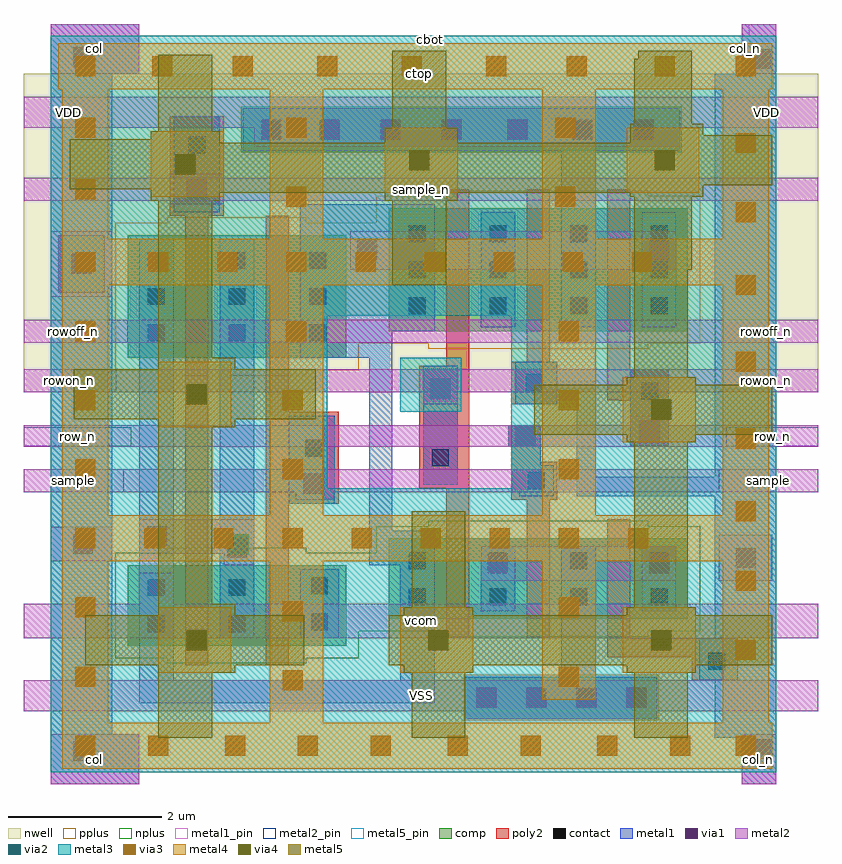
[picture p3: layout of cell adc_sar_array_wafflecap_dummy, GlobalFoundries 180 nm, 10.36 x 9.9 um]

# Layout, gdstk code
import gdstk
lib = gdstk.Library(unit=1e-6, precision=1e-09)
def R(c, l, rs):  # rectangles x0, y0, x1, y1
    for r in rs: c.add(gdstk.rectangle(r[:2], r[2:], *l))
def A(c, l, x, y, w, h, nx, ny, dx, dy):  # array of equal rectangles
    R(c, l, [(x+i*dx, y+j*dy, x+i*dx+w, y+j*dy+h) for i in range(nx) for j in range(ny)])
nwell = (21, 0)
comp = (22, 0)
poly2 = (30, 0)
pplus = (31, 0)
nplus = (32, 0)
contact = (33, 0)
metal1 = (34, 0)
metal1_pin = (34, 10)
via1 = (35, 0)
metal2 = (36, 0)
metal2_pin = (36, 10)
via2 = (38, 0)
via3 = (40, 0)
via4 = (41, 0)
metal3 = (42, 0)
metal4 = (46, 0)
metal5 = (81, 0)
metal5_pin = (81, 10)

adc_sar_array_wafflecap_ = lib.new_cell('adc_sar_array_wafflecap_8')
R(adc_sar_array_wafflecap_, nwell, [(-5,-0.95,5.35,3.2)])
R(adc_sar_array_wafflecap_, comp, [(0.75,-5.2,3.25,-4.65), (-3.65,-4.25,-0.8,-3.2), (-0.25,-3.9,3.65,-2.85), (-3.65,-0.5,-0.8,1.1), (-0.25,-0.15,3.65,1.45), (-2.15,2.2,3.55,2.75)])
R(adc_sar_array_wafflecap_, poly2, [(3.7,-4.7,4.3,-4.4), (-2.9,-4.5,-2.6,1.35), (-1.85,-4.5,-1.55,-2.4), (2.6,-4.4,4.3,-4.15), (0.5,-4.15,0.8,-2.2), (1.55,-4.15,1.85,-2.35), (2.6,-4.15,2.9,-2.6), (-1.85,-2.4,-0.9,-1.2), (1.35,-2.35,1.95,-1.85), (0.15,-2.2,0.8,-0.6), (1.35,-1.85,1.73,-1.66), (1.31,-1.66,1.73,-1.38), (2.9,-1.65,3.4,-1.055), (-1.85,-1.2,-1.55,1.35), (1.35,-1.1,1.95,-0.55), (2.755,-1.055,3.4,-1.05), (2.6,-1.05,3.4,-0.65), (2.6,-0.65,2.9,1.7), (0.5,-0.6,0.8,1.7), (1.55,-0.55,1.85,1.7), (-4.55,0.35,-3.95,1.1), (-3.1,1.35,-2.4,2.65)])
R(adc_sar_array_wafflecap_, pplus, [(0.73,-5.22,3.27,-4.63), (-3.13,-0.73,-1.32,-0.66), (-3.81,-0.66,-0.64,-0.31), (0.27,-0.38,3.13,-0.31), (-3.81,-0.31,3.81,1.26), (-3.13,1.26,-1.32,1.33), (-0.41,1.26,3.81,1.61), (0.27,1.61,3.13,1.68)])
R(adc_sar_array_wafflecap_, nplus, [(-3.13,-4.48,-1.32,-4.41), (-3.81,-4.41,-0.64,-4.06), (0.27,-4.13,3.13,-4.06), (-3.81,-4.06,3.81,-3.04), (-3.13,-3.04,-1.32,-2.97), (-0.41,-3.04,3.81,-2.69), (0.27,-2.69,3.13,-2.62), (-2.17,2.18,3.57,2.77)])
A(adc_sar_array_wafflecap_, contact, 0.915, -5.035, 0.22, 0.22, 4, 1, 0.65, 0)
A(adc_sar_array_wafflecap_, contact, 0.015, -3.72, 0.22, 0.22, 4, 2, 1.05, 0.47)
A(adc_sar_array_wafflecap_, contact, -3.385, -0.28, 0.22, 0.22, 3, 3, 1.05, 0.47)
A(adc_sar_array_wafflecap_, contact, 0.015, 0.07, 0.22, 0.22, 4, 3, 1.05, 0.47)
A(adc_sar_array_wafflecap_, contact, -1.135, 2.365, 0.22, 0.22, 3, 1, 0.8, 0)
R(adc_sar_array_wafflecap_, contact, [(3.915,-4.56,4.135,-4.34), (-3.385,-4.07,-3.165,-3.85), (-2.335,-4.07,-2.115,-3.85), (-1.26,-4.045,-1.04,-3.825), (-3.385,-3.6,-3.165,-3.38), (-2.335,-3.6,-2.115,-3.38), (-1.26,-3.575,-1.04,-3.355), (1.565,-2.21,1.785,-1.99), (0.315,-1.91,0.535,-1.69), (-1.335,-1.785,-1.115,-1.565), (3.04,-1.035,3.26,-0.815), (0.315,-1.01,0.535,-0.79), (1.54,-0.935,1.76,-0.715), (-2.86,2.165,-2.64,2.385), (-1.885,2.365,-1.665,2.585), (1.315,2.365,1.535,2.585), (2.165,2.365,2.385,2.585), (2.965,2.365,3.185,2.585)])
R(adc_sar_array_wafflecap_, metal1, [(-4.65,-6.05,-3.5,-5.4), (4.35,-6.05,4.8,-5.45), (4,-5.45,4.8,-4.7), (-4.65,-5.4,-3.85,3.2), (0.75,-5.2,3.25,-4.65), (-3.5,-5,0.35,-4.7), (-3.5,-4.7,-3.05,-3.3), (-0.1,-4.7,0.35,-3.2), (3.8,-4.7,4.8,-4.15), (2,-4.65,2.45,-2.95), (-2.45,-4.15,-2,1.05), (-1.4,-4.15,-0.9,-3.25), (4,-4.15,4.8,-2.3), (0.95,-3.8,1.4,-2.95), (3.05,-3.8,3.5,-2.95), (-0.5,-3.2,0.35,-2.75), (-3.5,-3.05,-3.05,1.05), (-0.5,-2.75,-0.2,-0.5), (-1.55,-2.4,-0.95,-1.25), (1.45,-2.3,1.9,-2.25), (2.2,-2.3,4.8,-2.05), (1.35,-2.25,1.9,-1.9), (0.2,-2.15,0.65,-0.6), (2.2,-2.05,2.45,-1.05), (4,-2.05,4.8,3.2), (1.35,-1.9,1.73,-1.66), (1.31,-1.66,1.73,-1.38), (2.9,-1.65,3.4,-0.65), (1.4,-1.1,1.95,-1.05), (1.4,-1.05,2.45,-0.8), (1.4,-0.8,1.95,-0.55), (-1.4,-0.5,-0.2,-0.15), (-1.4,-0.15,0.35,1.5), (0.95,-0.1,1.4,1.4), (2,-0.1,2.45,2.2), (3.05,-0.1,3.5,1.4), (-3.05,1.4,-2.45,2.65), (-2.15,2.2,3.55,2.75), (-4.65,3.2,-3.5,3.85), (4.35,3.2,4.8,3.85)])
R(adc_sar_array_wafflecap_, metal1_pin, [(4.35,-6.05,4.8,-5.4), (4.35,3.2,4.45,3.85)])
A(adc_sar_array_wafflecap_, via1, 0.895, -5.055, 0.26, 0.26, 4, 1, 0.65, 0)
A(adc_sar_array_wafflecap_, via1, -1.155, 2.345, 0.26, 0.26, 3, 1, 0.8, 0)
R(adc_sar_array_wafflecap_, via1, [(-4.355,-5.755,-4.095,-5.495), (4.47,-5.73,4.73,-5.47), (1.045,-3.305,1.305,-3.045), (3.145,-3.305,3.405,-3.045), (4.27,-3.23,4.53,-2.97), (-2.35,-3.105,-2.09,-2.845), (-4.355,-3.055,-4.095,-2.795), (-3.4,-2.955,-3.14,-2.695), (-1.355,-2.27,-1.095,-2.01), (1.4,-1.65,1.66,-1.39), (3.02,-1.58,3.28,-1.32), (0.295,-1.03,0.555,-0.77), (-4.38,0.595,-4.12,0.855), (-0.655,0.77,-0.395,1.03), (3.145,0.77,3.405,1.03), (-2.88,1.57,-2.62,1.83), (-1.905,2.345,-1.645,2.605), (1.295,2.345,1.555,2.605), (2.145,2.345,2.405,2.605), (2.945,2.345,3.205,2.605), (4.47,3.27,4.73,3.53), (-4.355,3.295,-4.095,3.555)])
R(adc_sar_array_wafflecap_, metal2, [(-4.65,-6.05,-3.5,-5.4), (4.35,-6.05,4.8,-5.4), (0.75,-5.2,3.25,-5.1), (-5,-5.1,5.35,-4.7), (-5,-4.15,5.35,-3.7), (-3.5,-3.7,-3.05,-3.05), (0.95,-3.4,3.5,-2.95), (4.05,-3.4,4.75,-2.8), (-2.4,-3.2,-2,-3.05), (-4.65,-3.15,-3.85,-2.7), (-3.5,-3.05,-2,-2.6), (-1.46,-2.35,-0.965,-2.25), (-5,-2.25,5.35,-1.95), (-5.005,-1.66,5.345,-1.38), (2.9,-1.38,3.4,-1.25), (0.2,-1.1,0.65,-0.95), (-5,-0.95,5.35,-0.65), (-5,-0.3,5.35,0), (-4.65,0.3,-3.85,1.15), (-0.75,0.65,3.5,1.15), (-3.1,1.5,-2.4,1.55), (-5,1.55,5.35,1.85), (-3.1,1.85,-2.4,1.9), (-2,2.25,3.55,2.5), (-5,2.5,5.35,2.9), (-4.65,3.2,-3.5,3.85), (4.35,3.2,4.8,3.85)])
R(adc_sar_array_wafflecap_, metal2_pin, [(-4.65,-6.05,-3.5,-5.4), (-5,-5.1,5.35,-4.7), (-5,-4.15,5.35,-3.7), (-5,-2.25,-3.7,-1.95), (4.05,-2.25,5.35,-1.95), (-5,-1.65,-3.6,-1.4), (4.15,-1.65,5.345,-1.4), (-5,-0.95,-3.8,-0.65), (4,-0.95,5.35,-0.65), (-5,-0.3,-3.65,0), (4,-0.3,5.35,0), (-5,1.55,5.35,1.85), (-5,2.5,-3.85,2.9), (4,2.5,5.35,2.9), (-4.65,3.2,-3.5,3.85)])
R(adc_sar_array_wafflecap_, via2, [(-2.33,-3.055,-2.07,-2.795)])
A(adc_sar_array_wafflecap_, via3, -4.33, -5.68, 0.26, 0.26, 1, 3, 0, 0.9)
A(adc_sar_array_wafflecap_, via3, -2.38, -5.68, 0.26, 0.26, 3, 1, 0.95, 0)
A(adc_sar_array_wafflecap_, via3, 4.27, -4.43, 0.26, 0.26, 1, 3, 0, 0.9)
A(adc_sar_array_wafflecap_, via3, -4.33, -2.98, 0.26, 0.26, 9, 1, 0.9, 0)
A(adc_sar_array_wafflecap_, via3, -4.33, -2.08, 0.26, 0.26, 1, 4, 0, 0.9)
A(adc_sar_array_wafflecap_, via3, 1.97, -2.08, 0.26, 0.26, 1, 3, 0, 0.9)
A(adc_sar_array_wafflecap_, via3, 4.27, -1.68, 0.26, 0.26, 1, 3, 0, 1)
A(adc_sar_array_wafflecap_, via3, -3.38, 0.62, 0.26, 0.26, 8, 1, 0.9, 0)
A(adc_sar_array_wafflecap_, via3, -4.33, 1.57, 0.26, 0.26, 1, 3, 0, 0.8)
A(adc_sar_array_wafflecap_, via3, -2.28, 3.17, 0.26, 0.26, 4, 1, 1.1, 0)
R(adc_sar_array_wafflecap_, via3, [(-3.38,-5.68,-3.12,-5.42), (0.52,-5.68,0.78,-5.42), (1.47,-5.68,1.73,-5.42), (2.47,-5.68,2.73,-5.42), (3.42,-5.68,3.68,-5.42), (4.27,-5.68,4.53,-5.42), (-1.63,-4.83,-1.37,-4.57), (1.97,-4.78,2.23,-4.52), (-1.63,-3.93,-1.37,-3.67), (1.97,-3.88,2.23,-3.62), (-1.63,-2.08,-1.37,-1.82), (-1.63,-1.18,-1.37,-0.92), (-1.58,-0.28,-1.32,-0.02), (4.27,1.27,4.53,1.53), (-1.58,1.47,-1.32,1.73), (1.92,1.47,2.18,1.73), (4.27,2.17,4.53,2.43), (-1.58,2.37,-1.32,2.63), (1.92,2.37,2.18,2.63), (-3.33,3.17,-3.07,3.43), (2.07,3.17,2.33,3.43), (3.22,3.17,3.48,3.43), (4.27,3.17,4.53,3.43)])
R(adc_sar_array_wafflecap_, via4, [(-2.88,-4.305,-2.62,-4.045), (0.27,-4.305,0.53,-4.045), (3.17,-4.305,3.43,-4.045), (3.17,-1.305,3.43,-1.045), (-2.88,-1.105,-2.62,-0.845), (-3.03,1.895,-2.77,2.155), (0.02,1.945,0.28,2.205), (3.22,1.945,3.48,2.205)])
R(adc_sar_array_wafflecap_, metal3, [(-4.65,-5.9,4.8,-2.2), (-4.65,-2.2,-1.05,0.05), (1.35,-2.2,4.8,0.05), (-0.1,-1.2,0.7,-0.5), (-4.65,0.05,4.8,3.7)])
R(adc_sar_array_wafflecap_, metal4, [(-4.5,-5.85,4.75,-5.25), (-4.5,-5.25,-3.9,-3.15), (-1.8,-5.25,-1.1,-3.15), (4.1,-5.25,4.7,-3.15), (1.75,-4.95,2.45,-3.15), (-3.25,-4.6,-2.3,-3.75), (-0.1,-4.6,0.85,-3.75), (2.8,-4.6,3.75,-3.75), (-4.5,-3.15,4.7,-2.55), (-4.5,-2.55,-3.9,0.45), (-1.8,-2.55,-1.1,0.45), (1.75,-2.55,2.45,0.45), (4.1,-2.55,4.7,0.45), (2.8,-1.6,3.75,-0.75), (-3.25,-1.4,-2.3,-0.55), (-4.5,0.45,4.7,1.05), (-4.5,1.05,-3.9,3), (-1.8,1.05,-1.1,3), (1.75,1.05,2.45,3), (4.1,1.05,4.7,3), (-3.35,1.6,-2.4,2.45), (-0.3,1.65,0.65,2.5), (2.85,1.65,3.8,2.5), (-4.55,3,4.75,3.6)])
R(adc_sar_array_wafflecap_, metal5, [(-3.25,-5.45,-2.55,-4.6), (0.05,-5.45,0.75,-4.6), (2.95,-5.45,3.65,-4.6), (-3.25,-4.6,-2.25,-4.5), (-0.05,-4.6,0.85,-4.5), (2.85,-4.6,3.75,-4.5), (-4.2,-4.5,-1.35,-3.85), (-0.25,-4.5,4.75,-3.85), (-3.25,-3.85,-2.25,-3.7), (-0.05,-3.85,0.85,-3.75), (2.85,-3.85,3.75,-3.75), (0.05,-3.75,0.75,-2.5), (2.95,-3.75,3.65,-1.6), (-3.25,-3.7,-2.55,-1.4), (2.85,-1.6,3.75,-1.5), (1.65,-1.5,4.75,-0.85), (-3.25,-1.4,-2.25,-1.3), (-4.35,-1.3,-1.2,-0.65), (2.85,-0.85,3.75,-0.75), (2.95,-0.75,3.65,0.65), (-3.25,-0.65,-2.25,-0.5), (-3.25,-0.5,-2.55,1.55), (-0.2,0.45,0.5,1.55), (2.95,0.65,3.7,1.6), (-3.35,1.55,-2.45,1.65), (-0.3,1.55,0.65,1.65), (2.9,1.6,3.85,1.65), (-3.35,1.65,3.85,1.7), (-4.4,1.7,3.85,1.75), (-4.4,1.75,4.75,2.3), (-4.4,2.3,-2.45,2.35), (-0.3,2.3,0.65,2.5), (2.9,2.3,4.75,2.4), (-3.35,2.35,-2.45,2.45), (2.9,2.4,3.85,2.55), (-3.25,2.45,-2.55,3.45), (-0.2,2.5,0.5,3.5), (2.95,2.55,3.7,3.4), (3,3.4,3.7,3.5)])
R(adc_sar_array_wafflecap_, metal5_pin, [(-0.2,2.9,0.5,3.5)])
adc_sar_array_wafflecap_.add(gdstk.Label('col_n', (4.575,-5.725), layer=34, texttype=10))
adc_sar_array_wafflecap_.add(gdstk.Label('col_n', (4.4,3.525), layer=34, texttype=10))
adc_sar_array_wafflecap_.add(gdstk.Label('VDD', (-4.425,2.7), layer=36, texttype=10))
adc_sar_array_wafflecap_.add(gdstk.Label('VDD', (4.675,2.7), layer=36, texttype=10))
adc_sar_array_wafflecap_.add(gdstk.Label('rowoff_n', (4.675,-0.15), layer=36, texttype=10))
adc_sar_array_wafflecap_.add(gdstk.Label('rowon_n', (-4.4,-0.8), layer=36, texttype=10))
adc_sar_array_wafflecap_.add(gdstk.Label('rowon_n', (4.675,-0.8), layer=36, texttype=10))
adc_sar_array_wafflecap_.add(gdstk.Label('row_n', (-4.3,-1.525), layer=36, texttype=10))
adc_sar_array_wafflecap_.add(gdstk.Label('row_n', (4.747,-1.525), layer=36, texttype=10))
adc_sar_array_wafflecap_.add(gdstk.Label('sample', (-4.35,-2.1), layer=36, texttype=10))
adc_sar_array_wafflecap_.add(gdstk.Label('sample', (4.7,-2.1), layer=36, texttype=10))
adc_sar_array_wafflecap_.add(gdstk.Label('sample_n', (0.175,1.7), layer=36, texttype=10))
adc_sar_array_wafflecap_.add(gdstk.Label('vcom', (0.175,-3.925), layer=36, texttype=10))
adc_sar_array_wafflecap_.add(gdstk.Label('VSS', (0.175,-4.9), layer=36, texttype=10))
adc_sar_array_wafflecap_.add(gdstk.Label('col', (-4.075,-5.725), layer=36, texttype=10))
adc_sar_array_wafflecap_.add(gdstk.Label('col', (-4.075,3.525), layer=36, texttype=10))
adc_sar_array_wafflecap_.add(gdstk.Label('ctop', (0.15,3.2), layer=81, texttype=10))
adc_sar_array_wafflecap_.add(gdstk.Label('cbot', (0.3,3.65), layer=42, texttype=10))
adc_sar_array_wafflecap_.add(gdstk.Label('row_off', (-4.325,-0.15), layer=36, texttype=10))

c_adc_sar_array_wafflecap_ = lib.new_cell('adc_sar_array_wafflecap_dummy')
R(c_adc_sar_array_wafflecap_, nwell, [(12.505,5.1,22.855,9.25)])
R(c_adc_sar_array_wafflecap_, comp, [(18.255,0.85,20.755,1.4), (13.855,1.8,16.705,2.85), (17.255,2.15,21.155,3.2), (13.855,5.55,16.705,7.15), (17.255,5.9,21.155,7.5), (15.355,8.25,21.055,8.8)])
R(c_adc_sar_array_wafflecap_, poly2, [(21.205,1.35,21.805,1.65), (14.605,1.55,14.905,7.4), (15.655,1.55,15.955,3.65), (20.105,1.65,21.805,1.9), (18.005,1.9,18.305,3.85), (19.055,1.9,19.355,3.7), (20.105,1.9,20.405,3.45), (15.655,3.65,16.605,4.85), (18.855,3.7,19.455,4.2), (17.655,3.85,18.305,5.45), (18.855,4.2,19.235,4.39), (18.815,4.39,19.235,4.67), (20.405,4.4,20.905,4.995), (15.655,4.85,15.955,7.4), (18.855,4.95,19.455,5.5), (20.26,4.995,20.905,5), (20.105,5,20.905,5.4), (20.105,5.4,20.405,7.75), (18.005,5.45,18.305,7.75), (19.055,5.5,19.355,7.75), (12.955,6.4,13.555,7.15), (14.405,7.4,15.105,8.7)])
R(c_adc_sar_array_wafflecap_, pplus, [(18.235,0.83,20.775,1.42), (14.375,5.32,16.185,5.39), (13.695,5.39,16.865,5.74), (17.775,5.67,20.635,5.74), (13.695,5.74,21.315,7.31), (14.375,7.31,16.185,7.38), (17.095,7.31,21.315,7.66), (17.775,7.66,20.635,7.73)])
R(c_adc_sar_array_wafflecap_, nplus, [(14.375,1.57,16.185,1.64), (13.695,1.64,16.865,1.99), (17.775,1.92,20.635,1.99), (13.695,1.99,21.315,3.01), (14.375,3.01,16.185,3.08), (17.095,3.01,21.315,3.36), (17.775,3.36,20.635,3.43), (15.335,8.23,21.075,8.82)])
A(c_adc_sar_array_wafflecap_, contact, 18.42, 1.015, 0.22, 0.22, 4, 1, 0.65, 0)
A(c_adc_sar_array_wafflecap_, contact, 17.52, 2.33, 0.22, 0.22, 4, 2, 1.05, 0.47)
A(c_adc_sar_array_wafflecap_, contact, 14.12, 5.77, 0.22, 0.22, 3, 3, 1.05, 0.47)
A(c_adc_sar_array_wafflecap_, contact, 17.52, 6.12, 0.22, 0.22, 4, 3, 1.05, 0.47)
A(c_adc_sar_array_wafflecap_, contact, 16.37, 8.415, 0.22, 0.22, 3, 1, 0.8, 0)
R(c_adc_sar_array_wafflecap_, contact, [(21.42,1.49,21.64,1.71), (14.12,1.98,14.34,2.2), (15.17,1.98,15.39,2.2), (16.245,2.005,16.465,2.225), (14.12,2.45,14.34,2.67), (15.17,2.45,15.39,2.67), (16.245,2.475,16.465,2.695), (19.07,3.84,19.29,4.06), (17.82,4.14,18.04,4.36), (16.17,4.265,16.39,4.485), (20.545,5.015,20.765,5.235), (17.82,5.04,18.04,5.26), (19.045,5.115,19.265,5.335), (14.645,8.215,14.865,8.435), (15.62,8.415,15.84,8.635), (18.82,8.415,19.04,8.635), (19.67,8.415,19.89,8.635), (20.47,8.415,20.69,8.635)])
R(c_adc_sar_array_wafflecap_, metal1, [(12.855,0,14.005,0.65), (21.855,0,22.305,0.6), (21.505,0.6,22.305,1.35), (12.855,0.65,13.655,9.25), (18.255,0.85,20.755,1.4), (14.005,1.05,17.855,1.35), (14.005,1.35,14.455,2.75), (17.405,1.35,17.855,2.85), (21.305,1.35,22.305,1.9), (19.505,1.4,19.955,3.1), (15.055,1.9,15.505,7.1), (16.105,1.9,16.605,2.8), (21.505,1.9,22.305,3.75), (18.455,2.25,18.905,3.1), (20.555,2.25,21.005,3.1), (17.005,2.85,17.855,3.3), (14.005,3,14.455,7.1), (17.005,3.3,17.305,5.55), (15.955,3.65,16.555,4.8), (18.955,3.75,19.405,3.8), (19.705,3.75,22.305,4), (18.855,3.8,19.405,4.15), (17.705,3.9,18.155,5.45), (19.705,4,19.955,5), (21.505,4,22.305,9.25), (18.855,4.15,19.235,4.39), (18.815,4.39,19.235,4.67), (20.405,4.4,20.905,5.4), (18.905,4.95,19.455,5), (18.905,5,19.955,5.25), (18.905,5.25,19.455,5.5), (16.105,5.55,17.305,5.9), (16.105,5.9,17.855,7.55), (18.455,5.95,18.905,7.45), (19.505,5.95,19.955,8.25), (20.555,5.95,21.005,7.45), (14.455,7.45,15.055,8.7), (15.355,8.25,21.055,8.8), (12.855,9.25,14.005,9.9), (21.855,9.25,22.305,9.9)])
R(c_adc_sar_array_wafflecap_, metal1_pin, [(21.855,0,22.305,0.65), (21.855,9.25,21.955,9.9)])
A(c_adc_sar_array_wafflecap_, via1, 18.4, 0.995, 0.26, 0.26, 4, 1, 0.65, 0)
A(c_adc_sar_array_wafflecap_, via1, 16.35, 8.395, 0.26, 0.26, 3, 1, 0.8, 0)
R(c_adc_sar_array_wafflecap_, via1, [(13.15,0.295,13.41,0.555), (21.975,0.32,22.235,0.58), (18.55,2.745,18.81,3.005), (20.65,2.745,20.91,3.005), (21.775,2.82,22.035,3.08), (15.155,2.945,15.415,3.205), (13.15,2.995,13.41,3.255), (14.105,3.095,14.365,3.355), (16.15,3.78,16.41,4.04), (18.905,4.4,19.165,4.66), (20.525,4.47,20.785,4.73), (17.8,5.02,18.06,5.28), (13.125,6.645,13.385,6.905), (16.85,6.82,17.11,7.08), (20.65,6.82,20.91,7.08), (14.625,7.62,14.885,7.88), (15.6,8.395,15.86,8.655), (18.8,8.395,19.06,8.655), (19.65,8.395,19.91,8.655), (20.45,8.395,20.71,8.655), (21.975,9.32,22.235,9.58), (13.15,9.345,13.41,9.605)])
R(c_adc_sar_array_wafflecap_, metal2, [(12.855,0,14.005,0.65), (21.855,0,22.305,0.65), (18.255,0.85,20.755,0.95), (12.505,0.95,22.855,1.35), (12.505,1.9,22.855,2.35), (14.005,2.35,14.455,3), (18.455,2.65,21.005,3.1), (21.555,2.65,22.255,3.25), (15.105,2.85,15.505,3), (12.855,2.9,13.655,3.35), (14.005,3,15.505,3.45), (16.045,3.7,16.54,3.8), (12.505,3.8,22.855,4.1), (12.5,4.39,22.85,4.67), (20.405,4.67,20.905,4.8), (17.705,4.95,18.155,5.1), (12.505,5.1,22.855,5.4), (12.5,5.75,22.855,6.05), (12.855,6.35,13.655,7.2), (16.755,6.7,21.005,7.2), (14.405,7.55,15.105,7.6), (12.505,7.6,22.855,7.9), (14.405,7.9,15.105,7.95), (15.505,8.3,21.055,8.55), (12.505,8.55,22.855,8.95), (12.855,9.25,14.005,9.9), (21.855,9.25,22.305,9.9)])
R(c_adc_sar_array_wafflecap_, metal2_pin, [(12.855,0,14.005,0.65), (12.505,0.95,22.855,1.35), (12.505,1.9,22.855,2.35), (12.505,3.8,13.805,4.1), (21.555,3.8,22.855,4.1), (12.505,4.4,13.905,4.65), (21.655,4.4,22.85,4.65), (12.505,5.1,13.705,5.4), (21.505,5.1,22.855,5.4), (12.5,5.75,13.8,6.05), (21.505,5.75,22.855,6.05), (12.505,7.6,22.855,7.9), (12.505,8.55,13.655,8.95), (21.505,8.55,22.855,8.95), (12.855,9.25,14.005,9.9)])
R(c_adc_sar_array_wafflecap_, via2, [(15.175,2.995,15.435,3.255)])
A(c_adc_sar_array_wafflecap_, via3, 13.175, 0.37, 0.26, 0.26, 1, 3, 0, 0.9)
A(c_adc_sar_array_wafflecap_, via3, 15.125, 0.37, 0.26, 0.26, 3, 1, 0.95, 0)
A(c_adc_sar_array_wafflecap_, via3, 21.775, 1.62, 0.26, 0.26, 1, 3, 0, 0.9)
A(c_adc_sar_array_wafflecap_, via3, 13.175, 3.07, 0.26, 0.26, 9, 1, 0.9, 0)
A(c_adc_sar_array_wafflecap_, via3, 13.175, 3.97, 0.26, 0.26, 1, 4, 0, 0.9)
A(c_adc_sar_array_wafflecap_, via3, 19.475, 3.97, 0.26, 0.26, 1, 3, 0, 0.9)
A(c_adc_sar_array_wafflecap_, via3, 21.775, 4.37, 0.26, 0.26, 1, 3, 0, 1)
A(c_adc_sar_array_wafflecap_, via3, 14.125, 6.67, 0.26, 0.26, 8, 1, 0.9, 0)
A(c_adc_sar_array_wafflecap_, via3, 13.175, 7.62, 0.26, 0.26, 1, 3, 0, 0.8)
A(c_adc_sar_array_wafflecap_, via3, 15.225, 9.22, 0.26, 0.26, 4, 1, 1.1, 0)
R(c_adc_sar_array_wafflecap_, via3, [(14.125,0.37,14.385,0.63), (18.025,0.37,18.285,0.63), (18.975,0.37,19.235,0.63), (19.975,0.37,20.235,0.63), (20.925,0.37,21.185,0.63), (21.775,0.37,22.035,0.63), (15.875,1.22,16.135,1.48), (19.475,1.27,19.735,1.53), (15.875,2.12,16.135,2.38), (19.475,2.17,19.735,2.43), (15.875,3.97,16.135,4.23), (15.875,4.87,16.135,5.13), (15.925,5.77,16.185,6.03), (21.775,7.32,22.035,7.58), (15.925,7.52,16.185,7.78), (19.425,7.52,19.685,7.78), (21.775,8.22,22.035,8.48), (15.925,8.42,16.185,8.68), (19.425,8.42,19.685,8.68), (14.175,9.22,14.435,9.48), (19.575,9.22,19.835,9.48), (20.725,9.22,20.985,9.48), (21.775,9.22,22.035,9.48)])
R(c_adc_sar_array_wafflecap_, via4, [(14.625,1.745,14.885,2.005), (17.775,1.745,18.035,2.005), (20.675,1.745,20.935,2.005), (20.675,4.745,20.935,5.005), (14.625,4.945,14.885,5.205), (14.475,7.945,14.735,8.205), (17.525,7.995,17.785,8.255), (20.725,7.995,20.985,8.255)])
R(c_adc_sar_array_wafflecap_, metal3, [(12.855,0.15,22.305,3.85), (12.855,3.85,16.455,6.1), (18.855,3.85,22.305,6.1), (17.405,4.85,18.205,5.55), (12.855,6.1,22.305,9.75)])
R(c_adc_sar_array_wafflecap_, metal4, [(13.005,0.2,22.255,0.8), (13.005,0.8,13.605,2.9), (15.705,0.8,16.405,2.9), (21.605,0.8,22.205,2.9), (19.255,1.1,19.955,2.9), (14.255,1.45,15.205,2.3), (17.405,1.45,18.355,2.3), (20.305,1.45,21.255,2.3), (13.005,2.9,22.205,3.5), (13.005,3.5,13.605,6.5), (15.705,3.5,16.405,6.5), (19.255,3.5,19.955,6.5), (21.605,3.5,22.205,6.5), (20.305,4.45,21.255,5.3), (14.255,4.65,15.205,5.5), (13.005,6.5,22.205,7.1), (13.005,7.1,13.605,9.05), (15.705,7.1,16.405,9.05), (19.255,7.1,19.955,9.05), (21.605,7.1,22.205,9.05), (14.155,7.65,15.105,8.5), (17.205,7.7,18.155,8.55), (20.355,7.7,21.305,8.55), (12.955,9.05,22.255,9.65)])
R(c_adc_sar_array_wafflecap_, metal5, [(14.255,0.6,14.955,1.45), (17.555,0.6,18.255,1.45), (20.455,0.6,21.155,1.45), (14.255,1.45,15.255,1.55), (17.455,1.45,18.355,1.55), (20.355,1.45,21.255,1.55), (13.305,1.55,16.155,2.2), (17.255,1.55,22.255,2.2), (14.255,2.2,15.255,2.35), (17.455,2.2,18.355,2.3), (20.355,2.2,21.255,2.3), (17.555,2.3,18.255,3.55), (20.455,2.3,21.155,4.45), (14.255,2.35,14.955,4.65), (20.355,4.45,21.255,4.55), (19.155,4.55,22.255,5.2), (14.255,4.65,15.255,4.75), (13.155,4.75,16.305,5.4), (20.355,5.2,21.255,5.3), (20.455,5.3,21.155,6.7), (14.255,5.4,15.255,5.55), (14.255,5.55,14.955,7.6), (17.305,6.5,18.005,7.6), (20.455,6.7,21.205,7.65), (14.155,7.6,15.055,7.7), (17.205,7.6,18.155,7.7), (20.405,7.65,21.355,7.7), (14.155,7.7,21.355,7.75), (13.105,7.75,21.355,7.8), (13.105,7.8,22.255,8.35), (13.105,8.35,15.055,8.4), (17.205,8.35,18.155,8.55), (20.405,8.35,22.255,8.45), (14.155,8.4,15.055,8.5), (20.405,8.45,21.355,8.6), (14.255,8.5,14.955,9.5), (17.305,8.55,18.005,9.55), (20.455,8.6,21.205,9.45), (20.505,9.45,21.205,9.55)])
R(c_adc_sar_array_wafflecap_, metal5_pin, [(17.305,8.95,18.005,9.55)])
c_adc_sar_array_wafflecap_.add(gdstk.Reference(adc_sar_array_wafflecap_, (17.505,6.05)))
c_adc_sar_array_wafflecap_.add(gdstk.Label('col_n', (22.08,0.325), layer=34, texttype=10))
c_adc_sar_array_wafflecap_.add(gdstk.Label('col_n', (21.905,9.575), layer=34, texttype=10))
c_adc_sar_array_wafflecap_.add(gdstk.Label('VDD', (13.08,8.75), layer=36, texttype=10))
c_adc_sar_array_wafflecap_.add(gdstk.Label('VDD', (22.18,8.75), layer=36, texttype=10))
c_adc_sar_array_wafflecap_.add(gdstk.Label('rowoff_n', (22.18,5.9), layer=36, texttype=10))
c_adc_sar_array_wafflecap_.add(gdstk.Label('rowon_n', (13.105,5.25), layer=36, texttype=10))
c_adc_sar_array_wafflecap_.add(gdstk.Label('rowon_n', (22.18,5.25), layer=36, texttype=10))
c_adc_sar_array_wafflecap_.add(gdstk.Label('row_n', (13.205,4.525), layer=36, texttype=10))
c_adc_sar_array_wafflecap_.add(gdstk.Label('row_n', (22.252,4.525), layer=36, texttype=10))
c_adc_sar_array_wafflecap_.add(gdstk.Label('sample', (13.155,3.95), layer=36, texttype=10))
c_adc_sar_array_wafflecap_.add(gdstk.Label('sample', (22.205,3.95), layer=36, texttype=10))
c_adc_sar_array_wafflecap_.add(gdstk.Label('sample_n', (17.68,7.75), layer=36, texttype=10))
c_adc_sar_array_wafflecap_.add(gdstk.Label('vcom', (17.68,2.125), layer=36, texttype=10))
c_adc_sar_array_wafflecap_.add(gdstk.Label('VSS', (17.68,1.15), layer=36, texttype=10))
c_adc_sar_array_wafflecap_.add(gdstk.Label('col', (13.43,0.325), layer=36, texttype=10))
c_adc_sar_array_wafflecap_.add(gdstk.Label('col', (13.43,9.575), layer=36, texttype=10))
c_adc_sar_array_wafflecap_.add(gdstk.Label('ctop', (17.655,9.25), layer=81, texttype=10))
c_adc_sar_array_wafflecap_.add(gdstk.Label('cbot', (17.805,9.7), layer=42, texttype=10))
c_adc_sar_array_wafflecap_.add(gdstk.Label('rowoff_n', (13.15,5.9), layer=36, texttype=10))

lib.write_gds('adc_sar_array_wafflecap_dummy.gds')
